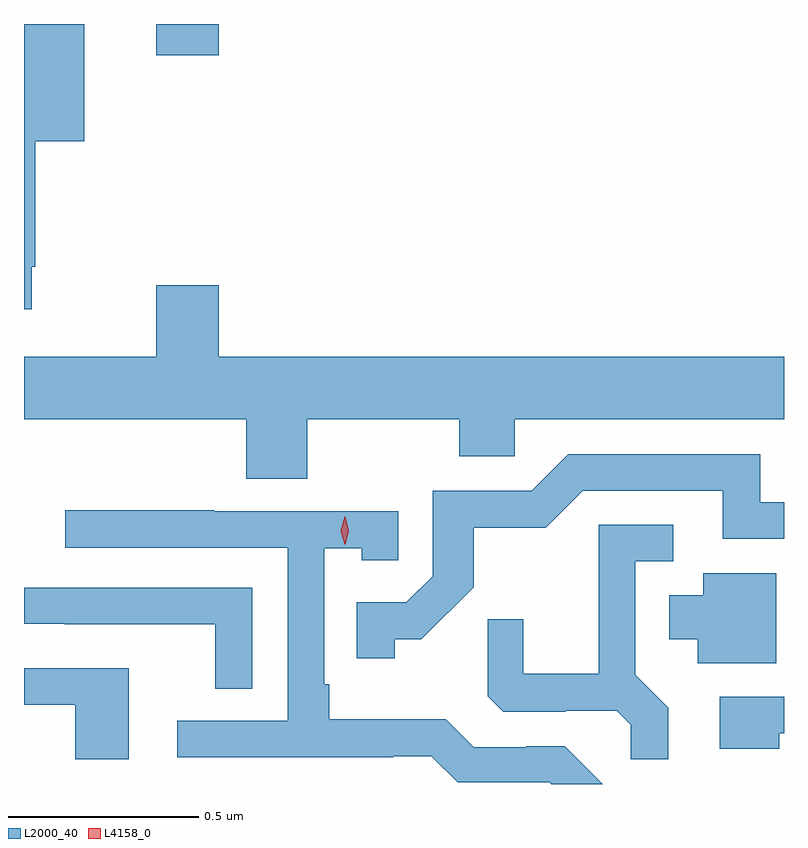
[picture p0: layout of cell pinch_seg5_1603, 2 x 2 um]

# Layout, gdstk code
import gdstk
lib = gdstk.Library(unit=1e-6, precision=1e-09)
def R(c, l, rs):  # rectangles x0, y0, x1, y1
    for r in rs: c.add(gdstk.rectangle(r[:2], r[2:], *l))
def P(c, l, *ps):  # polygons
    for p in ps: c.add(gdstk.Polygon(p, *l))
L2000_40 = (2000, 40)
L4158_0 = (4158, 0)

pinch_seg5_1603 = lib.new_cell('pinch_seg5_1603')
R(pinch_seg5_1603, L2000_40, [(320.852,868.374,321.016,868.456)])
P(pinch_seg5_1603, L2000_40, [(320.525,867.817),(320.533,867.817),(320.533,868.148),(320.662,868.148),(320.662,868.456),(320.504,868.456),(320.504,867.705),(320.525,867.705)],
  [(321.249,867.416),(321.649,867.416),(321.649,867.318),(321.795,867.318),(321.795,867.416),(322.504,867.416),(322.504,867.58),(321.016,867.58),(321.016,867.769),(320.852,867.769),(320.852,867.58),(320.504,867.58),(320.504,867.416),(321.089,867.416),(321.089,867.259),(321.249,867.259)],
  [(321.48,866.837),(321.55,866.837),(321.688,866.974),(321.688,867.13),(321.877,867.13),(321.975,867.228),(322.343,867.228),(322.343,867.102),(322.504,867.102),(322.504,867.198),(322.442,867.198),(322.442,867.324),(321.936,867.324),(321.84,867.228),(321.579,867.228),(321.579,867.003),(321.51,866.934),(321.379,866.934),(321.379,866.787),(321.48,866.787)],
  [(321.927,866.556),(321.826,866.556),(321.826,866.553),(321.687,866.553),(321.614,866.626),(321.307,866.626),(321.307,866.719),(321.294,866.719),(321.294,867.077),(321.393,867.077),(321.393,867.045),(321.489,867.045),(321.489,867.174),(321.005,867.174),(321.005,867.177),(320.613,867.177),(320.613,867.078),(321.198,867.078),(321.198,866.622),(320.907,866.622),(320.907,866.526),(321.476,866.526),(321.476,866.529),(321.576,866.529),(321.645,866.46),(321.888,866.46),(321.892,866.456),(322.027,866.456)],
  [(322.199,866.657),(322.113,866.743),(322.113,867.042),(322.213,867.042),(322.213,867.138),(322.016,867.138),(322.016,866.746),(321.818,866.746),(321.818,866.889),(321.724,866.889),(321.724,866.687),(321.765,866.646),(321.93,866.646),(321.93,866.649),(322.064,866.649),(322.101,866.612),(322.101,866.521),(322.199,866.521)],
  [(322.483,867.01),(322.292,867.01),(322.292,866.953),(322.202,866.953),(322.202,866.837),(322.277,866.837),(322.277,866.774),(322.483,866.774)],
  [(321.105,866.973),(320.504,866.973),(320.504,866.878),(320.611,866.878),(320.611,866.877),(321.007,866.877),(321.007,866.707),(321.105,866.707)],
  [(320.779,866.76),(320.504,866.76),(320.504,866.664),(320.639,866.664),(320.639,866.521),(320.779,866.521)],
  [(322.491,866.589),(322.504,866.589),(322.504,866.685),(322.335,866.685),(322.335,866.549),(322.491,866.549)])
P(pinch_seg5_1603, L4158_0, [(321.348,867.087),(321.348,867.087),(321.338,867.123),(321.348,867.159),(321.348,867.159),(321.349,867.159),(321.358,867.123),(321.349,867.087)])

lib.write_gds('pinch_seg5_1603.gds')
